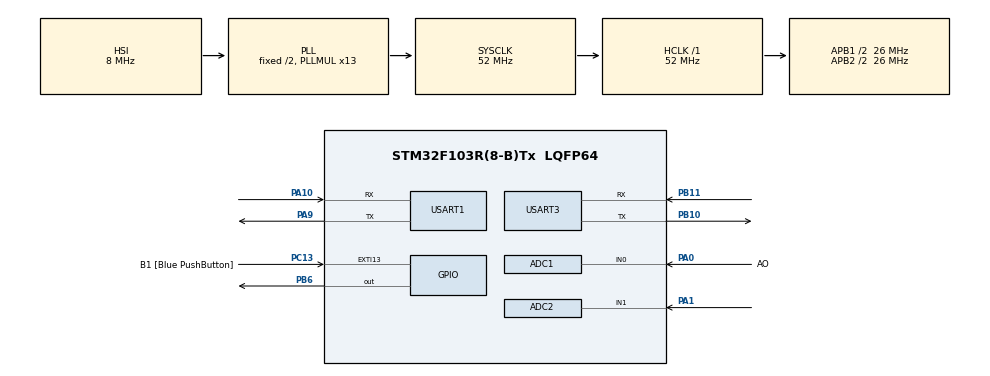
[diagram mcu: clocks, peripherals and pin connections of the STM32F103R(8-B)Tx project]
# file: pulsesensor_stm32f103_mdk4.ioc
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ADC1.Channel-0\#ChannelRegularConversion=ADC_CHANNEL_0
ADC1.EnableAnalogWatchDog=false
ADC1.Rank-0\#ChannelRegularConversion=1
ADC1.SamplingTime-0\#ChannelRegularConversion=ADC_SAMPLETIME_13CYCLES_5
ADC1.master=1
ADC2.Channel-4\#ChannelRegularConversion=ADC_CHANNEL_1
ADC2.NbrOfConversionFlag=1
ADC2.Rank-4\#ChannelRegularConversion=1
ADC2.SamplingTime-4\#ChannelRegularConversion=ADC_SAMPLETIME_1CYCLE_5
Mcu.Family=STM32F1
Mcu.Name=STM32F103R(8-B)Tx
Mcu.Package=LQFP64
NVIC.PriorityGroup=NVIC_PRIORITYGROUP_4
NVIC.TIM3_IRQn=true\:0\:0\:false
PA0-WKUP.GPIO_Label=AO
PA0-WKUP.GPIO_Mode=GPIO_MODE_ANALOG
PA0-WKUP.Signal=ADCx_IN0
PA1.Signal=ADCx_IN1
PA10.Mode=Asynchronous
PA10.Signal=USART1_RX
PA13.GPIO_Label=TMS
PA13.Signal=SYS_JTMS-SWDIO
PA14.GPIO_Label=TCK
PA14.Signal=SYS_JTCK-SWCLK
PA2.GPIO_Label=USART_TX
PA2.GPIO_Mode=GPIO_MODE_AF_PP
PA2.GPIO_PuPd=GPIO_NOPULL
PA2.GPIO_Speed=GPIO_SPEED_HIGH
PA2.Signal=USART2_TX
PA3.GPIO_Label=USART_RX
PA3.GPIO_Mode=GPIO_MODE_INPUT
PA3.GPIO_PuPd=GPIO_NOPULL
PA3.GPIO_Speed=GPIO_SPEED_LOW
PA3.Signal=USART2_RX
PA9.Mode=Asynchronous
PA9.Signal=USART1_TX
PB10.Mode=Asynchronous
PB10.Signal=USART3_TX
PB11.Mode=Asynchronous
PB11.Signal=USART3_RX
PB3.GPIO_Label=SWO
PB3.Signal=SYS_JTDO-TRACESWO
PB6.Signal=GPIO_Output
PC13-TAMPER-RTC.GPIO_Label=B1 [Blue PushButton]
PC13-TAMPER-RTC.GPIO_ModeDefaultEXTI=GPIO_MODE_EVT_RISING
PC13-TAMPER-RTC.GPIO_PuPd=GPIO_NOPULL
PC13-TAMPER-RTC.Signal=GPXTI13
PC14-OSC32_IN.Signal=RCC_OSC32_IN
PC15-OSC32_OUT.Signal=RCC_OSC32_OUT
PD0-OSC_IN.Signal=RCC_OSC_IN
PD1-OSC_OUT.Signal=RCC_OSC_OUT
ProjectManager.HeapSize=0x200
ProjectManager.StackSize=0x400
ProjectManager.TargetToolchain=MDK-ARM V4
RCC.AHBFreq_Value=52000000
RCC.APB1CLKDivider=RCC_HCLK_DIV2
RCC.APB1Freq_Value=26000000
RCC.APB1TimFreq_Value=52000000
RCC.APB2CLKDivider=RCC_HCLK_DIV2
RCC.APB2Freq_Value=26000000
RCC.APB2TimFreq_Value=52000000
RCC.HCLKFreq_Value=52000000
RCC.PLLMUL=RCC_PLL_MUL13
RCC.SYSCLKFreq_VALUE=52000000
RCC.SYSCLKSource=RCC_SYSCLKSOURCE_PLLCLK
RCC.USBFreq_Value=52000000
SH.ADCx_IN0.0=ADC1_IN0,IN0
SH.ADCx_IN1.0=ADC2_IN1,IN1
TIM3.Period=1999
TIM3.Prescaler=7
USART1.VirtualMode=VM_ASYNC
USART3.VirtualMode=VM_ASYNC
VP_TIM3_VS_ClockSourceINT.Mode=Internal
board=pulsesensor_stm32f103_mdk4

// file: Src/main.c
/**
  ******************************************************************************
  * File Name          : main.c
  * Date               : 11/09/2017 11:19:10
  * Description        : Main program body
  ******************************************************************************
  *
  * COPYRIGHT(c) 2017 STMicroelectronics
  *
  * Redistribution and use in source and binary forms, with or without modification,
  * are permitted provided that the following conditions are met:
  *   1. Redistributions of source code must retain the above copyright notice,
  *      this list of conditions and the following disclaimer.
  *   2. Redistributions in binary form must reproduce the above copyright notice,
  *      this list of conditions and the following disclaimer in the documentation
  *      and/or other materials provided with the distribution.
  *   3. Neither the name of STMicroelectronics nor the names of its contributors
  *      may be used to endorse or promote products derived from this software
  *      without specific prior written permission.
  *
  * THIS SOFTWARE IS PROVIDED BY THE COPYRIGHT HOLDERS AND CONTRIBUTORS "AS IS"
  * AND ANY EXPRESS OR IMPLIED WARRANTIES, INCLUDING, BUT NOT LIMITED TO, THE
  * IMPLIED WARRANTIES OF MERCHANTABILITY AND FITNESS FOR A PARTICULAR PURPOSE ARE
  * DISCLAIMED. IN NO EVENT SHALL THE COPYRIGHT HOLDER OR CONTRIBUTORS BE LIABLE
  * FOR ANY DIRECT, INDIRECT, INCIDENTAL, SPECIAL, EXEMPLARY, OR CONSEQUENTIAL
  * DAMAGES (INCLUDING, BUT NOT LIMITED TO, PROCUREMENT OF SUBSTITUTE GOODS OR
  * SERVICES; LOSS OF USE, DATA, OR PROFITS; OR BUSINESS INTERRUPTION) HOWEVER
  * CAUSED AND ON ANY THEORY OF LIABILITY, WHETHER IN CONTRACT, STRICT LIABILITY,
  * OR TORT (INCLUDING NEGLIGENCE OR OTHERWISE) ARISING IN ANY WAY OUT OF THE USE
  * OF THIS SOFTWARE, EVEN IF ADVISED OF THE POSSIBILITY OF SUCH DAMAGE.
  *
  ******************************************************************************
  */

#include "stm32f1xx_hal.h"

/* USER CODE BEGIN Includes */
#include "stdio.h"
/* USER CODE END Includes */

ADC_HandleTypeDef hadc1;
ADC_HandleTypeDef hadc2;

TIM_HandleTypeDef htim3;

UART_HandleTypeDef huart1;
UART_HandleTypeDef huart3;

/* USER CODE BEGIN PV */
// these variables are volatile because they are used during the interrupt service routine!
#define true 1
#define false 0
int BPM;                   // used to hold the pulse rate
int Signal;                // holds the incoming raw data
int IBI = 600;             // holds the time between beats, must be seeded!
unsigned char Pulse = false;     // true when pulse wave is high, false when it's low
unsigned char QS = false;        // becomes true when Arduoino finds a beat.
int rate[10];                    // array to hold last ten IBI values
unsigned long sampleCounter = 0;          // used to determine pulse timing
unsigned long lastBeatTime = 0;           // used to find IBI
int P =512;                      // used to find peak in pulse wave, seeded
int T = 512;                     // used to find trough in pulse wave, seeded
int thresh = 512;                // used to find instant moment of heart beat, seeded
int amp = 100;                   // used to hold amplitude of pulse waveform, seeded
int Num;
unsigned char firstBeat = true;        // used to seed rate array so we startup with reasonable BPM
unsigned char secondBeat = false;      // used to seed rate array so we startup with reasonable BPM
unsigned int Animal_Heat_Vol[30];                       // 采集温度的电压值
unsigned int Animal_Heat_Number=0,Animal_Heat=0;                      // 采集电压数值的个数
unsigned int Last_RES=0;                                // 得到的电阻值
float Animal_Heat_Compute[50];                   // 计算温度数组
unsigned int Animal_Heat_Compute_Number=0;              // 得到的温度的个数
unsigned int const Resistance[14]= {0x091A,0x09A6,0x0A3C,0X0AD2,0X0B68,0X0B90,0X0C26,0X0CBC,0X0CEE,0X0D84,0X0E1A,0X0EB0,0X0F46};     // 电阻对应的表
unsigned int const Voltage[14]=    {0X0673,0X06CA,0X0739,0X079D,0X080C,0X0825,0X0895,0X08F8,0X0911,0X0981,0X09F1,0X0A54,0X0AC4};     // ADC采样对应的表
unsigned int const Temperature[14]={0X10EA,0X1054,0X0FC8,0X0F3C,0X0EBA,0X0E92,0X0E1A,0X0DAC,0X0D84,0X0D16,0X0CB2,0X0C58,0X0BF4};     // 温度对应的表
unsigned int const h[10]={77,75,76,77,78,77,77,76,77,76};
float const t[10]={36.2,36.3,36.5,36.4,36.3,36.5,35.6,35.7,35.6,35.6};
/* USER CODE END PV */

static void MX_GPIO_Init(void);
static void SystemClock_Config(void);
static void MX_ADC1_Init(void);
static void MX_TIM3_Init(void);
static void MX_USART1_UART_Init(void);
static void MX_ADC2_Init(void);
static void MX_USART3_UART_Init(void);

/* USER CODE BEGIN PFP */
void sendDataToProcessing(char symbol, int dat );
void Reduced_Temperature(void);
#ifdef __GNUC__
  /* With GCC/RAISONANCE, small printf (option LD Linker->Libraries->Small printf
     set to 'Yes') calls __io_putchar() */
  #define PUTCHAR_PROTOTYPE int __io_putchar(int ch)
#else
  #define PUTCHAR_PROTOTYPE int fputc(int ch, FILE *f)
#endif /* __GNUC__ */
/* USER CODE END PFP */

int main(void)
{

  /* MCU Configuration----------------------------------------------------------*/

  /* Reset of all peripherals, Initializes the Flash interface and the Systick. */
  HAL_Init();

  /* Configure the system clock */
  SystemClock_Config();

  /* Initialize all configured peripherals */
  MX_GPIO_Init();
  SystemClock_Config();
  MX_ADC1_Init();
  MX_TIM3_Init();
  MX_USART1_UART_Init();
  MX_ADC2_Init();
  MX_USART3_UART_Init();

  /* USER CODE BEGIN 2 */
  HAL_TIM_Base_Start_IT(&htim3);
  /* USER CODE END 2 */

  /* Infinite loop */
  /* USER CODE BEGIN WHILE */
  while (1)
  {
  		Reduced_Temperature();
	//	sendDataToProcessing('S', Signal);     // send Processing the raw Pulse Sensor data

	//	printf("T:%.2f\n",Animal_Heat_Compute[Animal_Heat_Compute_Number]/118111610);

	//	if (QS == true)
	//	{
	//			sendDataToProcessing('B',BPM);   // send heart rate with a 'B' prefix
	//		  sendDataToProcessing('T',Animal_Heat_Compute[Animal_Heat_Compute_Number]/118111610);
	//			sendDataToProcessing('Q',IBI);   // send time between beats with a 'Q' prefix
	//			QS = false;                      // reset the Quantified Self flag for next time
	//	}
		for(int i=0;i<10;i++)
		{
		 printf("%d,%2.1f\n",h[i],t[i]);
		 HAL_Delay(5000);	//delay for 500ms
		}
  /* USER CODE END WHILE */

  }

}

/** System Clock Configuration
*/
void SystemClock_Config(void)
{

  RCC_OscInitTypeDef RCC_OscInitStruct;
  RCC_ClkInitTypeDef RCC_ClkInitStruct;
  RCC_PeriphCLKInitTypeDef PeriphClkInit;

  RCC_OscInitStruct.OscillatorType = RCC_OSCILLATORTYPE_HSI;
  RCC_OscInitStruct.HSIState = RCC_HSI_ON;
  RCC_OscInitStruct.HSICalibrationValue = 16;
  RCC_OscInitStruct.PLL.PLLState = RCC_PLL_ON;
  RCC_OscInitStruct.PLL.PLLSource = RCC_PLLSOURCE_HSI_DIV2;
  RCC_OscInitStruct.PLL.PLLMUL = RCC_PLL_MUL13;
  HAL_RCC_OscConfig(&RCC_OscInitStruct);

  RCC_ClkInitStruct.ClockType = RCC_CLOCKTYPE_SYSCLK|RCC_CLOCKTYPE_PCLK1
                              |RCC_CLOCKTYPE_PCLK2;
  RCC_ClkInitStruct.SYSCLKSource = RCC_SYSCLKSOURCE_PLLCLK;
  RCC_ClkInitStruct.AHBCLKDivider = RCC_SYSCLK_DIV1;
  RCC_ClkInitStruct.APB1CLKDivider = RCC_HCLK_DIV2;
  RCC_ClkInitStruct.APB2CLKDivider = RCC_HCLK_DIV2;
  HAL_RCC_ClockConfig(&RCC_ClkInitStruct, FLASH_LATENCY_2);

  PeriphClkInit.PeriphClockSelection = RCC_PERIPHCLK_ADC;
  PeriphClkInit.AdcClockSelection = RCC_ADCPCLK2_DIV2;
  HAL_RCCEx_PeriphCLKConfig(&PeriphClkInit);

}

/* ADC1 init function */
void MX_ADC1_Init(void)
{

  ADC_ChannelConfTypeDef sConfig;

    /**Common config
    */
  hadc1.Instance = ADC1;
  hadc1.Init.ScanConvMode = ADC_SCAN_DISABLE;
  hadc1.Init.ContinuousConvMode = DISABLE;
  hadc1.Init.DiscontinuousConvMode = DISABLE;
  hadc1.Init.ExternalTrigConv = ADC_SOFTWARE_START;
  hadc1.Init.DataAlign = ADC_DATAALIGN_RIGHT;
  hadc1.Init.NbrOfConversion = 1;
  HAL_ADC_Init(&hadc1);

    /**Configure Regular Channel
    */
  sConfig.Channel = ADC_CHANNEL_0;
  sConfig.Rank = 1;
  sConfig.SamplingTime = ADC_SAMPLETIME_13CYCLES_5;
  HAL_ADC_ConfigChannel(&hadc1, &sConfig);

}

/* ADC2 init function */
void MX_ADC2_Init(void)
{

  ADC_ChannelConfTypeDef sConfig;

    /**Common config
    */
  hadc2.Instance = ADC2;
  hadc2.Init.ScanConvMode = ADC_SCAN_DISABLE;
  hadc2.Init.ContinuousConvMode = DISABLE;
  hadc2.Init.DiscontinuousConvMode = DISABLE;
  hadc2.Init.ExternalTrigConv = ADC_SOFTWARE_START;
  hadc2.Init.DataAlign = ADC_DATAALIGN_RIGHT;
  hadc2.Init.NbrOfConversion = 1;
  HAL_ADC_Init(&hadc2);

    /**Configure Regular Channel
    */
  sConfig.Channel = ADC_CHANNEL_1;
  sConfig.Rank = 1;
  sConfig.SamplingTime = ADC_SAMPLETIME_1CYCLE_5;
  HAL_ADC_ConfigChannel(&hadc2, &sConfig);

}

/* TIM3 init function */
void MX_TIM3_Init(void)
{

  TIM_ClockConfigTypeDef sClockSourceConfig;
  TIM_MasterConfigTypeDef sMasterConfig;

  htim3.Instance = TIM3;
  htim3.Init.Prescaler = 7;
  htim3.Init.CounterMode = TIM_COUNTERMODE_UP;
  htim3.Init.Period = 1999;
  htim3.Init.ClockDivision = TIM_CLOCKDIVISION_DIV1;
  HAL_TIM_Base_Init(&htim3);

  sClockSourceConfig.ClockSource = TIM_CLOCKSOURCE_INTERNAL;
  HAL_TIM_ConfigClockSource(&htim3, &sClockSourceConfig);

  sMasterConfig.MasterOutputTrigger = TIM_TRGO_RESET;
  sMasterConfig.MasterSlaveMode = TIM_MASTERSLAVEMODE_DISABLE;
  HAL_TIMEx_MasterConfigSynchronization(&htim3, &sMasterConfig);

}

/* USART1 init function */
void MX_USART1_UART_Init(void)
{

  huart1.Instance = USART1;
  huart1.Init.BaudRate = 115200;
  huart1.Init.WordLength = UART_WORDLENGTH_8B;
  huart1.Init.StopBits = UART_STOPBITS_1;
  huart1.Init.Parity = UART_PARITY_NONE;
  huart1.Init.Mode = UART_MODE_TX_RX;
  huart1.Init.HwFlowCtl = UART_HWCONTROL_NONE;
  huart1.Init.OverSampling = UART_OVERSAMPLING_16;
  HAL_UART_Init(&huart1);

}

/* USART3 init function */
void MX_USART3_UART_Init(void)
{

  huart3.Instance = USART3;
  huart3.Init.BaudRate = 9600;
  huart3.Init.WordLength = UART_WORDLENGTH_8B;
  huart3.Init.StopBits = UART_STOPBITS_1;
  huart3.Init.Parity = UART_PARITY_NONE;
  huart3.Init.Mode = UART_MODE_TX_RX;
  huart3.Init.HwFlowCtl = UART_HWCONTROL_NONE;
  huart3.Init.OverSampling = UART_OVERSAMPLING_16;
  HAL_UART_Init(&huart3);

}

/** Configure pins as
        * Analog
        * Input
        * Output
        * EVENT_OUT
        * EXTI
     PA2   ------> USART2_TX
     PA3   ------> USART2_RX
*/
void MX_GPIO_Init(void)
{

  GPIO_InitTypeDef GPIO_InitStruct;

  /* GPIO Ports Clock Enable */
  __GPIOC_CLK_ENABLE();
  __GPIOD_CLK_ENABLE();
  __GPIOA_CLK_ENABLE();
  __GPIOB_CLK_ENABLE();

  /*Configure GPIO pin : PC13 */
  GPIO_InitStruct.Pin = GPIO_PIN_13;
  GPIO_InitStruct.Mode = GPIO_MODE_EVT_RISING;
  GPIO_InitStruct.Pull = GPIO_NOPULL;
  HAL_GPIO_Init(GPIOC, &GPIO_InitStruct);

  /*Configure GPIO pin : PA2 */
  GPIO_InitStruct.Pin = GPIO_PIN_2;
  GPIO_InitStruct.Mode = GPIO_MODE_AF_PP;
  GPIO_InitStruct.Speed = GPIO_SPEED_HIGH;
  HAL_GPIO_Init(GPIOA, &GPIO_InitStruct);

  /*Configure GPIO pin : PA3 */
  GPIO_InitStruct.Pin = GPIO_PIN_3;
  GPIO_InitStruct.Mode = GPIO_MODE_INPUT;
  GPIO_InitStruct.Pull = GPIO_NOPULL;
  HAL_GPIO_Init(GPIOA, &GPIO_InitStruct);

  /*Configure GPIO pin : PB6 */
  GPIO_InitStruct.Pin = GPIO_PIN_6;
  GPIO_InitStruct.Mode = GPIO_MODE_OUTPUT_PP;
  GPIO_InitStruct.Speed = GPIO_SPEED_LOW;
  HAL_GPIO_Init(GPIOB, &GPIO_InitStruct);

}

/* USER CODE BEGIN 4 */
/**
  * @brief  Retargets the C library printf function to the USART.
  * @param  None
  * @retval None
  */
PUTCHAR_PROTOTYPE
{
  /* Place your implementation of fputc here */
  /* e.g. write a character to the EVAL_COM1 and Loop until the end of transmission */
  HAL_UART_Transmit(&huart1, (uint8_t *)&ch, 1, 0xFFFF);
  HAL_UART_Transmit(&huart3, (uint8_t *)&ch, 1, 0xFFFF);
  return ch;
}

void HAL_TIM_PeriodElapsedCallback(TIM_HandleTypeDef *htim)
{
	unsigned int runningTotal;
	if(htim->Instance==htim3.Instance)
	{
		Signal=HAL_ADC_GetValue(&hadc1)>>2;					 // read the Pulse Senso
		sampleCounter += 2;                         // keep track of the time in mS with this variable
		Num = sampleCounter - lastBeatTime;       // monitor the time since the last beat to avoid noise
		HAL_ADC_Start(&hadc1);									//restart ADC conversion

		//  find the peak and trough of the pulse wave
  if(Signal < thresh && Num > (IBI/5)*3){       // avoid dichrotic noise by waiting 3/5 of last IBI
    if (Signal < T){                        // T is the trough
      T = Signal;                         // keep track of lowest point in pulse wave
    }
  }

  if(Signal > thresh && Signal > P){          // thresh condition helps avoid noise
    P = Signal;                             // P is the peak
  }                                        // keep track of highest point in pulse wave

  //  NOW IT'S TIME TO LOOK FOR THE HEART BEAT
  // signal surges up in value every time there is a pulse
  if (Num > 250){                                   // avoid high frequency noise
    if ( (Signal > thresh) && (Pulse == false) && (Num > (IBI/5)*3) ){
      Pulse = true;                               // set the Pulse flag when we think there is a pulse
      HAL_GPIO_WritePin(GPIOB,GPIO_PIN_6,GPIO_PIN_SET);                // turn on pin 13 LED
      IBI = sampleCounter - lastBeatTime;         // measure time between beats in mS
      lastBeatTime = sampleCounter;               // keep track of time for next pulse

      if(secondBeat){                        // if this is the second beat, if secondBeat == TRUE
        secondBeat = false;                  // clear secondBeat flag
        for(int i=0; i<=9; i++){             // seed the running total to get a realisitic BPM at startup
          rate[i] = IBI;
        }
      }

      if(firstBeat){                         // if it's the first time we found a beat, if firstBeat == TRUE
        firstBeat = false;                   // clear firstBeat flag
        secondBeat = true;                   // set the second beat flag
 //       sei();                               // enable interrupts again
        return;                              // IBI value is unreliable so discard it
      }

      // keep a running total of the last 10 IBI values
      runningTotal = 0;                  // clear the runningTotal variable

      for(int i=0; i<=8; i++){                // shift data in the rate array
        rate[i] = rate[i+1];                  // and drop the oldest IBI value
        runningTotal += rate[i];              // add up the 9 oldest IBI values
      }

      rate[9] = IBI;                          // add the latest IBI to the rate array
      runningTotal += rate[9];                // add the latest IBI to runningTotal
      runningTotal /= 10;                     // average the last 10 IBI values
      BPM = 60000/runningTotal;               // how many beats can fit into a minute? that's BPM!
      QS = true;                              // set Quantified Self flag
      // QS FLAG IS NOT CLEARED INSIDE THIS ISR
    }
  }

  if (Signal < thresh && Pulse == true){   // when the values are going down, the beat is over
     HAL_GPIO_WritePin(GPIOB,GPIO_PIN_6,GPIO_PIN_RESET);            // turn off pin 13 LED
    Pulse = false;                         // reset the Pulse flag so we can do it again
    amp = P - T;                           // get amplitude of the pulse wave
    thresh = amp/2 + T;                    // set thresh at 50% of the amplitude
    P = thresh;                            // reset these for next time
    T = thresh;
  }

  if (Num > 2500){                           // if 2.5 seconds go by without a beat
    thresh = 512;                          // set thresh default
    P = 512;                               // set P default
    T = 512;                               // set T default
    lastBeatTime = sampleCounter;          // bring the lastBeatTime up to date
    firstBeat = true;                      // set these to avoid noise
    secondBeat = false;                    // when we get the heartbeat back
  }

	if(BPM>=95&&BPM<=110)
	{
			BPM*=0.75;
	}
	else if(BPM>110&&BPM<=120)
	{
			BPM*=0.62;
 	}
		else if(BPM>80&&BPM<95)
	{
			BPM*=0.85;
 	}
	}
}
void Get_Resistance_Value()
{
   unsigned int i,j,Sum_Number=0,ADC_Value;
   unsigned int Temperature_Vol_sum=0,Temperature_Vol_sum1=0;
   unsigned int Average_Value=0,Average_Value1=0,Average_Value2=0;
   if(Animal_Heat_Number>=19)
   {
        for(i=0;i<20;i++)                                              // 对采集到的数组进行从小到大的顺序排列
        {
            for(j=i+1;j<20;j++)
            {
                if(Animal_Heat_Vol[i]>Animal_Heat_Vol[j])
                {
                    ADC_Value=Animal_Heat_Vol[i];
                    Animal_Heat_Vol[i]=Animal_Heat_Vol[j];
                    Animal_Heat_Vol[j]=ADC_Value;
//                    break;
                }
            }
        }
        Temperature_Vol_sum=Sum_Number=0;
        for(i=5;i<15;i++)  Temperature_Vol_sum+=Animal_Heat_Vol[i];    // 计算出中间10个数的总和
        Average_Value=Temperature_Vol_sum/10;                          // 求10个数的平均数
        Temperature_Vol_sum1=0;
        for(i=5;i<15;i++)
        {
            if(abs(Animal_Heat_Vol[i]-Average_Value)<0x02)
            {
                Temperature_Vol_sum1+=Animal_Heat_Vol[i];    // 计算出中间10个数的总和
                Sum_Number++;
            }
        }
        if(Sum_Number>0) Average_Value1=Temperature_Vol_sum1/Sum_Number;
        else             Average_Value1=Animal_Heat_Vol[5];
        Average_Value2=(Average_Value+Average_Value1)/2;

      //  printf("\r\n 平均电压值=%d \r\n ",Average_Value2);

        if((Average_Value2>=0X0673)&&(Average_Value2<=0x0AC4))
        {
            for(i=0;i<12;i++)
            {
                if((Voltage[i]<=Average_Value2)&&(Average_Value2<=Voltage[i+1]))
                {
                    Last_RES=(((Average_Value2-Voltage[i])*100/(Voltage[i+1]-Voltage[i]))*(Resistance[i+1]-Resistance[i]))/100+ Resistance[i];  //将ADC的值转换成电阻值
                }
            }
        }
        Average_Value2=0;       Animal_Heat_Number=0;
   }
}
void Reduced_Temperature(void)
{
    unsigned int i,Temperature_Temp;

    if(Animal_Heat_Number<19)  { Get_ADC2(1,2); return;}
   //     printf("测试到的电压=%d          ",Animal_Heat_Vol[10]);
    Get_Resistance_Value();                                             // 得到电阻值
   // printf("电阻值=%d          ",Last_RES);
    if((0x091A<=Last_RES)&&(Last_RES<=0X0F46))
    {
       for(i=0;i<12;i++)
       {
           if((Last_RES>=Resistance[i])&&(Last_RES<=Resistance[i+1]))
           {
               Animal_Heat_Compute[Animal_Heat_Compute_Number]=Temperature[i]-(((Last_RES-Resistance[i])*100/(Resistance[i+1]-Resistance[i]))*(Temperature[i+1]-Temperature[i]))/100; // 得到体温
//               Animal_Heat=Animal_Heat_Compute[Animal_Heat_Compute_Number];
               Last_RES=0;
               break;
           }
       }
    }
//printf("T:%.2f\n",Animal_Heat_Compute[Animal_Heat_Compute_Number]/118111610);
    Temperature_Temp=0;
    for(i=0;i<50;i++)
    {
       Temperature_Temp+=Animal_Heat_Compute[i];
    }
    Animal_Heat= Temperature_Temp/500;
   // printf("温度值2=%d \r\n ",Animal_Heat);
    Animal_Heat_Compute_Number++;
    if(Animal_Heat_Compute_Number>49) Animal_Heat_Compute_Number=0;
}

int Get_ADC2(unsigned int Average,unsigned int m)          // // ch=ADC_Channel_14  采集的次数     采集的速率=20.8K m=2
{
	unsigned int result=0;
	unsigned char i;
  //  HAL_ADC_ConfigChannel(&hadc2,);
	//ADC_RegularChannelConfig(ADC2, ADC_Channel_1, 1, ADC_SampleTime_71Cycles5 );
    HAL_ADC_Start(&hadc2);  //ADC_SoftwareStartConvCmd(ADC2, ENABLE);		    // 使能指定的ADC1的软件转换启动功能
  	for(i=0;i<Average;i++)                              // 采集的次数
	{
        //		ADC_SoftwareStartConvCmd(ADC1, ENABLE);		    // 使能指定的ADC1的软件转换启动功能
		while(!HAL_ADC_GetState(&hadc2)); // 等待转换结束
        Animal_Heat_Vol[Animal_Heat_Number]=HAL_ADC_GetValue(&hadc2);

        Animal_Heat_Number++;
	}
	return result;	                                    // 返回平均值
}

void sendDataToProcessing(char symbol, int dat )
{
    putchar(symbol);                // symbol prefix tells Processing what type of data is coming
		printf("%d\r\n",dat);						// the data to send culminating in a carriage return
}
/* USER CODE END 4 */

/************************ (C) COPYRIGHT STMicroelectronics *****END OF FILE****/
